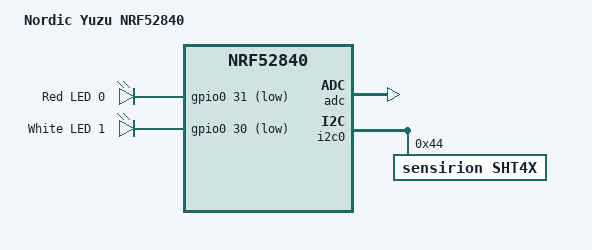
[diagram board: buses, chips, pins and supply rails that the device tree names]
/*
 * Copyright (c) 2017 Linaro Limited
 *
 * SPDX-License-Identifier: Apache-2.0
 */

/dts-v1/;
#include <nordic/nrf52840_qiaa.dtsi>
#include "yuzu_nrf52840-pinctrl.dtsi"
#include <zephyr/dt-bindings/input/input-event-codes.h>

/ {
	model = "Nordic Yuzu NRF52840";
	compatible = "nordic,yuzu-nrf52840";

	chosen {
		zephyr,sram = &sram0;
		zephyr,flash = &flash0;
		zephyr,code-partition = &slot0_partition;
	};

	leds {
		compatible = "gpio-leds";
		led0: led_0 {
			gpios = <&gpio0 31 GPIO_ACTIVE_LOW>;
			label = "Red LED 0";
		};
		led1: led_1 {
			gpios = <&gpio0 30 GPIO_ACTIVE_LOW>;
			label = "White LED 1";
		};
	};

	/* These aliases are provided for compatibility with samples */
	aliases {
		led0 = &led0;
		led1 = &led1;
		bootloader-led0 = &led0;
		mcuboot-led0 = &led0;
		watchdog0 = &wdt0;
	};
};

&adc {
	status = "okay";
};

&uicr {
	gpio-as-nreset;
};

&gpiote {
	status = "okay";
};

&gpio0 {
	status = "okay";
};

&gpio1 {
	status = "okay";
};

&i2c0 {
	compatible = "nordic,nrf-twi";
	status = "okay";
	pinctrl-0 = <&i2c0_default>;
	pinctrl-1 = <&i2c0_sleep>;
	pinctrl-names = "default", "sleep";

	SHT4X: sht4x@44 {
		compatible = "sensirion,sht4x";
		reg = <0x44>;
		label = "SHT4X";
		repeatability = <0>;
	};
};

&flash0 {

	partitions {
		compatible = "fixed-partitions";
		#address-cells = <1>;
		#size-cells = <1>;

		boot_partition: partition@0 {
			label = "mcuboot";
			reg = <0x00000000 0x0000C000>;
		};
		slot0_partition: partition@c000 {
			label = "image-0";
			reg = <0x0000C000 0x00076000>;
		};
		slot1_partition: partition@82000 {
			label = "image-1";
			reg = <0x00082000 0x00076000>;
		};

		/*
		 * The flash starting at 0x000f8000 and ending at
		 * 0x000fffff is reserved for use by the application.
		 */

		/*
		 * Storage partition will be used by FCB/LittleFS/NVS
		 * if enabled.
		 */
		storage_partition: partition@f8000 {
			label = "storage";
			reg = <0x000f8000 0x00008000>;
		};
	};
};
